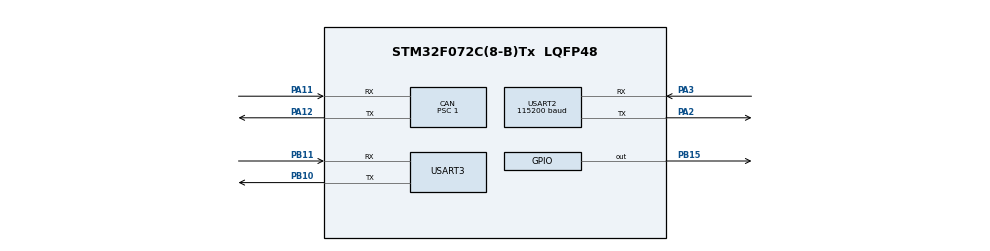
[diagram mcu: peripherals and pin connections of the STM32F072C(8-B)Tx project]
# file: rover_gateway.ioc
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CAN.BS1=CAN_BS1_13TQ
CAN.BS2=CAN_BS2_2TQ
CAN.CalculateBaudRate=500000
CAN.CalculateTimeBit=2000
CAN.CalculateTimeQuantum=125.0
CAN.Prescaler=1
Mcu.Family=STM32F0
Mcu.Name=STM32F072C(8-B)Tx
Mcu.Package=LQFP48
NVIC.CEC_CAN_IRQn=true\:0\:0\:false\:false\:true\:true\:true\:true
NVIC.USART2_IRQn=true\:0\:0\:false\:false\:true\:true\:true\:true
NVIC.USART3_4_IRQn=true\:0\:0\:false\:false\:true\:true\:true\:true
PA11.Mode=CAN_Activate
PA11.Signal=CAN_RX
PA12.Mode=CAN_Activate
PA12.Signal=CAN_TX
PA13.Mode=Serial_Wire
PA13.Signal=SYS_SWDIO
PA14.Mode=Serial_Wire
PA14.Signal=SYS_SWCLK
PA2.Mode=Asynchronous
PA2.Signal=USART2_TX
PA3.Mode=Asynchronous
PA3.Signal=USART2_RX
PB10.Mode=Asynchronous
PB10.Signal=USART3_TX
PB11.Mode=Asynchronous
PB11.Signal=USART3_RX
PB15.Signal=GPIO_Output
PF0-OSC_IN.Mode=HSE-External-Oscillator
PF0-OSC_IN.Signal=RCC_OSC_IN
PF1-OSC_OUT.Mode=HSE-External-Oscillator
PF1-OSC_OUT.Signal=RCC_OSC_OUT
ProjectManager.HeapSize=0x200
ProjectManager.StackSize=0x400
ProjectManager.TargetToolchain=CMake
USART2.BaudRate=115200
USART2.VirtualMode-Asynchronous=VM_ASYNC
USART3.VirtualMode-Asynchronous=VM_ASYNC
board=custom

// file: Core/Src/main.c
/* USER CODE BEGIN Header */
/**
  ******************************************************************************
  * @file           : main.c
  * @brief          : Main program body
  ******************************************************************************
  * @attention
  *
  * Copyright (c) 2025 STMicroelectronics.
  * All rights reserved.
  *
  * This software is licensed under terms that can be found in the LICENSE file
  * in the root directory of this software component.
  * If no LICENSE file comes with this software, it is provided AS-IS.
  *
  ******************************************************************************
  */
/* USER CODE END Header */
#include "main.h"

/* USER CODE BEGIN Includes */
#include <string.h>
/* USER CODE END Includes */

/* USER CODE BEGIN PTD */

// --- New UART Gateway Defines ---
const uint8_t UART_START_BYTE = 0xAA;
const uint8_t UART_END_BYTE = 0x55;
#define UART_BUFFER_SIZE 256 // Define the size of the receive buffer

// --- Circular Buffer Structure ---
typedef struct
{
    uint8_t buffer[UART_BUFFER_SIZE];
    volatile uint16_t head;
    volatile uint16_t tail;
} CircularBuffer;

// --- Original, Unchanged CAN Variables ---
volatile uint8_t messageReceived = 0;
CAN_RxHeaderTypeDef rxHeader;
uint8_t rxData[8];

// --- New UART Gateway Specific Typedefs ---
// A simple structure to hold a CAN message for UART framing
typedef struct
{
    uint16_t id;
    uint8_t dlc;
    uint8_t data[8];
} UART_CanMessage_t;

// State machine for receiving UART messages
typedef enum
{
    UART_STATE_WAITING_FOR_START,
    UART_STATE_READING_ID_HIGH,
    UART_STATE_READING_ID_LOW,
    UART_STATE_READING_DLC,
    UART_STATE_READING_DATA,
    UART_STATE_READING_CHECKSUM,
    UART_STATE_READING_END
} UART_State_t;
/* USER CODE END PTD */

CAN_HandleTypeDef hcan;

UART_HandleTypeDef huart2;
UART_HandleTypeDef huart3;

/* USER CODE BEGIN PV */
// --- UART Buffering ---
CircularBuffer uart2_to_uart3_buffer;
CircularBuffer uart3_to_uart2_buffer;
uint8_t uart2_rx_byte;
uint8_t uart3_rx_byte;

// --- New UART Gateway Specific Variables ---
UART_State_t uart_currentState = UART_STATE_WAITING_FOR_START;
UART_CanMessage_t uart_receivedMsg;

uint8_t uart_dataIndex = 0;
uint8_t uart_calculatedChecksum = 0;
uint8_t uart_receivedChecksum = 0;
/* USER CODE END PV */

void SystemClock_Config(void);
static void MX_GPIO_Init(void);
static void MX_CAN_Init(void);
static void MX_USART2_UART_Init(void);
static void MX_USART3_UART_Init(void);
/* USER CODE BEGIN PFP */
// --- Original, Unchanged CAN Function Prototypes ---
void can_irq(CAN_HandleTypeDef *pcan);
HAL_StatusTypeDef can_send(uint32_t id, uint8_t data[], uint8_t length);

// --- New UART Gateway Function Prototypes ---
void gateway_send_can_over_uart(uint32_t id, uint8_t* data, uint8_t dlc);
void gateway_process_uart_byte(uint8_t incomingByte);
/* USER CODE END PFP */

/* USER CODE BEGIN 0 */
// --- Circular Buffer Functions ---
void CB_Init(CircularBuffer *cb) {
    cb->head = 0;
    cb->tail = 0;
}

int CB_Write(CircularBuffer *cb, uint8_t data) {
    uint16_t next_head = (cb->head + 1) % UART_BUFFER_SIZE;
    if (next_head == cb->tail) {
        // Buffer is full
        return -1;
    }
    cb->buffer[cb->head] = data;
    cb->head = next_head;
    return 0;
}

int CB_Read(CircularBuffer *cb, uint8_t *data) {
    if (cb->head == cb->tail) {
        // Buffer is empty
        return -1;
    }
    *data = cb->buffer[cb->tail];
    cb->tail = (cb->tail + 1) % UART_BUFFER_SIZE;
    return 0;
}

// --- Original, Unchanged CAN Functions ---
void can_irq(CAN_HandleTypeDef *pcan) {
    /* Simply receive whatever message comes in */
    if (HAL_CAN_GetRxMessage(pcan, CAN_RX_FIFO0, &rxHeader, rxData) == HAL_OK) {
        messageReceived = 1;
    }
}

HAL_StatusTypeDef can_send(uint32_t id, uint8_t data[], uint8_t length) {
    CAN_TxHeaderTypeDef txHeader;
    uint32_t mailbox;

    /* Configure TX header */
    txHeader.StdId = id;
    txHeader.IDE = CAN_ID_STD;
    txHeader.RTR = CAN_RTR_DATA;
    txHeader.DLC = length;
    txHeader.TransmitGlobalTime = DISABLE;

    /* Check if mailbox is available and send */
    if (HAL_CAN_GetTxMailboxesFreeLevel(&hcan) > 0) {
        return HAL_CAN_AddTxMessage(&hcan, &txHeader, data, &mailbox);
    }
    return HAL_BUSY;
}

// --- New UART Gateway Functions ---

/**
 * @brief  Takes CAN data and sends it over UART with framing and checksum.
 * @param  id: The CAN message ID.
 * @param  data: Pointer to the CAN data payload.
 * @param  dlc: The data length code of the CAN message.
 * @retval None
 */
void gateway_send_can_over_uart(uint32_t id, uint8_t* data, uint8_t dlc)
{
    uint8_t tx_buffer[14]; // Max size: 1 start + 2 id + 1 dlc + 8 data + 1 checksum + 1 end
    int idx = 0;

    // Calculate the checksum
    uint8_t checksum = 0;
    checksum ^= (uint8_t)(id >> 8);
    checksum ^= (uint8_t)(id & 0xFF);
    checksum ^= dlc;
    for (int i = 0; i < dlc; ++i)
    {
        checksum ^= data[i];
    }

    // Populate the transmission buffer
    tx_buffer[idx++] = UART_START_BYTE;
    tx_buffer[idx++] = (uint8_t)(id >> 8);
    tx_buffer[idx++] = (uint8_t)(id & 0xFF);
    tx_buffer[idx++] = dlc;
    memcpy(&tx_buffer[idx], data, dlc);
    idx += dlc;
    tx_buffer[idx++] = checksum;
    tx_buffer[idx++] = UART_END_BYTE;

    // Transmit the message
    HAL_UART_Transmit(&huart2, tx_buffer, idx, 100);
}

/**
 * @brief  Processes a single byte received from UART using a state machine.
 * @param  incomingByte: The byte to process.
 * @note   This function is now called in a loop for each byte in the buffer.
 * When a full, valid message is parsed, it calls can_send().
 * @retval None
 */
void gateway_process_uart_byte(uint8_t incomingByte)
{
    switch (uart_currentState)
    {
        case UART_STATE_WAITING_FOR_START:
            if (incomingByte == UART_START_BYTE)
            {
                uart_currentState = UART_STATE_READING_ID_HIGH;
                uart_calculatedChecksum = 0;
                uart_dataIndex = 0;
                memset(&uart_receivedMsg, 0, sizeof(uart_receivedMsg));
            }
            break;

        case UART_STATE_READING_ID_HIGH:
            uart_receivedMsg.id = (uint16_t)incomingByte << 8;
            uart_calculatedChecksum ^= incomingByte;
            uart_currentState = UART_STATE_READING_ID_LOW;
            break;

        case UART_STATE_READING_ID_LOW:
            uart_receivedMsg.id |= incomingByte;
            uart_calculatedChecksum ^= incomingByte;
            uart_currentState = UART_STATE_READING_DLC;
            break;

        case UART_STATE_READING_DLC:
            if (incomingByte <= 8)
            {
                uart_receivedMsg.dlc = incomingByte;
                uart_calculatedChecksum ^= incomingByte;
                if (uart_receivedMsg.dlc == 0)
                {
                    uart_currentState = UART_STATE_READING_CHECKSUM;
                }
                else
                {
                    uart_currentState = UART_STATE_READING_DATA;
                }
            }
            else
            {
                // Invalid DLC, reset
                uart_currentState = UART_STATE_WAITING_FOR_START;
            }
            break;

        case UART_STATE_READING_DATA:
            uart_receivedMsg.data[uart_dataIndex] = incomingByte;
            uart_calculatedChecksum ^= incomingByte;
            uart_dataIndex++;
            if (uart_dataIndex >= uart_receivedMsg.dlc)
            {
                uart_currentState = UART_STATE_READING_CHECKSUM;
            }
            break;

        case UART_STATE_READING_CHECKSUM:
            uart_receivedChecksum = incomingByte;
            if (uart_receivedChecksum == uart_calculatedChecksum)
            {
                uart_currentState = UART_STATE_READING_END;
            }
            else
            {
                // Checksum mismatch, reset
                uart_currentState = UART_STATE_WAITING_FOR_START;
            }
            break;

        case UART_STATE_READING_END:
            if (incomingByte == UART_END_BYTE)
            {
                // Message successfully received and validated!
                can_send(uart_receivedMsg.id, uart_receivedMsg.data, uart_receivedMsg.dlc);
                HAL_GPIO_TogglePin(GPIOB, GPIO_PIN_15); // Toggle LED to indicate UART->CAN activity
            }
            // Reset state machine for the next message
            uart_currentState = UART_STATE_WAITING_FOR_START;
            break;
    }
}

/**
 * @brief  Rx Transfer completed callback.
 * @param  huart: UART handle
 * @retval None
 */
void HAL_UART_RxCpltCallback(UART_HandleTypeDef *huart)
{
    if (huart->Instance == USART2)
    {
        CB_Write(&uart2_to_uart3_buffer, uart2_rx_byte);
        HAL_UART_Receive_IT(&huart2, &uart2_rx_byte, 1);
    }
    else if (huart->Instance == USART3)
    {
        CB_Write(&uart3_to_uart2_buffer, uart3_rx_byte);
        HAL_UART_Receive_IT(&huart3, &uart3_rx_byte, 1);
    }
}
/* USER CODE END 0 */

int main(void)
{

  /* MCU Configuration--------------------------------------------------------*/

  /* Reset of all peripherals, Initializes the Flash interface and the Systick. */
  HAL_Init();

  /* Configure the system clock */
  SystemClock_Config();

  /* Initialize all configured peripherals */
  MX_GPIO_Init();
  MX_CAN_Init();
  MX_USART2_UART_Init();
  MX_USART3_UART_Init();
  /* USER CODE BEGIN 2 */
    /* USER CODE BEGIN 2 */
    HAL_GPIO_WritePin(GPIOB, GPIO_PIN_15, GPIO_PIN_RESET); // LED off

    // Initialize circular buffers
    CB_Init(&uart2_to_uart3_buffer);
    CB_Init(&uart3_to_uart2_buffer);

    // Start UART reception in interrupt mode
    HAL_UART_Receive_IT(&huart2, &uart2_rx_byte, 1);
    HAL_UART_Receive_IT(&huart3, &uart3_rx_byte, 1);
  /* USER CODE END 2 */
  /* USER CODE END 2 */

  /* Infinite loop */
    while (1)
    {

    /* USER CODE BEGIN 3 */
        /* If a CAN message was received (flag set in can_irq), process it. */
        if (messageReceived) {
            // 1. Forward the received CAN message over UART
            gateway_send_can_over_uart(rxHeader.StdId, rxData, rxHeader.DLC);

            // 2. Toggle LED to indicate CAN->UART activity
            HAL_GPIO_TogglePin(GPIOB, GPIO_PIN_15);

            // 3. Clear the flag (original behavior)
            messageReceived = 0;
        }

        // Process UART buffers
        uint8_t data;
        while (CB_Read(&uart2_to_uart3_buffer, &data) == 0) {
            HAL_UART_Transmit(&huart3, &data, 1, 100);
            gateway_process_uart_byte(data);
        }

        while (CB_Read(&uart3_to_uart2_buffer, &data) == 0) {
            HAL_UART_Transmit(&huart2, &data, 1, 100);
        }

        HAL_Delay(1);
    }
  /* USER CODE END 3 */
}

void SystemClock_Config(void)
{
  RCC_OscInitTypeDef RCC_OscInitStruct = {0};
  RCC_ClkInitTypeDef RCC_ClkInitStruct = {0};
  RCC_PeriphCLKInitTypeDef PeriphClkInit = {0};

  /** Initializes the RCC Oscillators according to the specified parameters
  * in the RCC_OscInitTypeDef structure.
  */
  RCC_OscInitStruct.OscillatorType = RCC_OSCILLATORTYPE_HSI;
  RCC_OscInitStruct.HSIState = RCC_HSI_ON;
  RCC_OscInitStruct.HSICalibrationValue = RCC_HSICALIBRATION_DEFAULT;
  RCC_OscInitStruct.PLL.PLLState = RCC_PLL_NONE;
  if (HAL_RCC_OscConfig(&RCC_OscInitStruct) != HAL_OK)
  {
    Error_Handler();
  }

  /** Initializes the CPU, AHB and APB buses clocks
  */
  RCC_ClkInitStruct.ClockType = RCC_CLOCKTYPE_HCLK|RCC_CLOCKTYPE_SYSCLK
                              |RCC_CLOCKTYPE_PCLK1;
  RCC_ClkInitStruct.SYSCLKSource = RCC_SYSCLKSOURCE_HSI;
  RCC_ClkInitStruct.AHBCLKDivider = RCC_SYSCLK_DIV1;
  RCC_ClkInitStruct.APB1CLKDivider = RCC_HCLK_DIV1;

  if (HAL_RCC_ClockConfig(&RCC_ClkInitStruct, FLASH_LATENCY_0) != HAL_OK)
  {
    Error_Handler();
  }
  PeriphClkInit.PeriphClockSelection = RCC_PERIPHCLK_USART2;
  PeriphClkInit.Usart2ClockSelection = RCC_USART2CLKSOURCE_PCLK1;
  if (HAL_RCCEx_PeriphCLKConfig(&PeriphClkInit) != HAL_OK)
  {
    Error_Handler();
  }
}

static void MX_CAN_Init(void)
{

  hcan.Instance = CAN;
  hcan.Init.Prescaler = 1;
  hcan.Init.Mode = CAN_MODE_NORMAL;
  hcan.Init.SyncJumpWidth = CAN_SJW_1TQ;
  hcan.Init.TimeSeg1 = CAN_BS1_13TQ;
  hcan.Init.TimeSeg2 = CAN_BS2_2TQ;
  hcan.Init.TimeTriggeredMode = DISABLE;
  hcan.Init.AutoBusOff = DISABLE;
  hcan.Init.AutoWakeUp = DISABLE;
  hcan.Init.AutoRetransmission = DISABLE;
  hcan.Init.ReceiveFifoLocked = DISABLE;
  hcan.Init.TransmitFifoPriority = DISABLE;
  if (HAL_CAN_Init(&hcan) != HAL_OK)
  {
    Error_Handler();
  }
  /* USER CODE BEGIN CAN_Init 2 */
    CAN_FilterTypeDef sf;
    sf.FilterMaskIdHigh = 0x0000;
    sf.FilterMaskIdLow = 0x0000;
    sf.FilterFIFOAssignment = CAN_FILTER_FIFO0;
    sf.FilterBank = 0;
    sf.FilterMode = CAN_FILTERMODE_IDMASK;
    sf.FilterScale = CAN_FILTERSCALE_32BIT;
    sf.FilterActivation = CAN_FILTER_ENABLE;
    if (HAL_CAN_ConfigFilter(&hcan, &sf) != HAL_OK) { Error_Handler(); }

    if (HAL_CAN_RegisterCallback(&hcan, HAL_CAN_RX_FIFO0_MSG_PENDING_CB_ID, can_irq) != HAL_OK) { Error_Handler(); }

    if (HAL_CAN_Start(&hcan) != HAL_OK) { Error_Handler(); }

    if (HAL_CAN_ActivateNotification(&hcan, CAN_IT_RX_FIFO0_MSG_PENDING) != HAL_OK) { Error_Handler(); }

    /* Enable interrupts for CAN: FIFO0 message pending, transmit mailbox empty, error */
    __HAL_CAN_ENABLE_IT(&hcan,
                        CAN_IT_RX_FIFO0_MSG_PENDING | // RX FIFO0 message
                        CAN_IT_TX_MAILBOX_EMPTY     | // Transmit mailbox empty
                        CAN_IT_ERROR_WARNING        | // Error warning
                        CAN_IT_ERROR_PASSIVE        | // Error passive
                        CAN_IT_BUSOFF               | // Bus-off
                        CAN_IT_LAST_ERROR_CODE      | // Last error code
                        CAN_IT_ERROR                ); // General error

    /* Configure NVIC for CAN interrupts */
    HAL_NVIC_SetPriority(CEC_CAN_IRQn, 0, 0);
    HAL_NVIC_EnableIRQ(CEC_CAN_IRQn);
  /* USER CODE END CAN_Init 2 */

}

static void MX_USART2_UART_Init(void)
{

  huart2.Instance = USART2;
  huart2.Init.BaudRate = 115200;
  huart2.Init.WordLength = UART_WORDLENGTH_8B;
  huart2.Init.StopBits = UART_STOPBITS_1;
  huart2.Init.Parity = UART_PARITY_NONE;
  huart2.Init.Mode = UART_MODE_TX_RX;
  huart2.Init.HwFlowCtl = UART_HWCONTROL_NONE;
  huart2.Init.OverSampling = UART_OVERSAMPLING_16;
  huart2.Init.OneBitSampling = UART_ONE_BIT_SAMPLE_DISABLE;
  huart2.AdvancedInit.AdvFeatureInit = UART_ADVFEATURE_NO_INIT;
  if (HAL_UART_Init(&huart2) != HAL_OK)
  {
    Error_Handler();
  }

}

static void MX_USART3_UART_Init(void)
{

  huart3.Instance = USART3;
  huart3.Init.BaudRate = 38400;
  huart3.Init.WordLength = UART_WORDLENGTH_8B;
  huart3.Init.StopBits = UART_STOPBITS_1;
  huart3.Init.Parity = UART_PARITY_NONE;
  huart3.Init.Mode = UART_MODE_TX_RX;
  huart3.Init.HwFlowCtl = UART_HWCONTROL_NONE;
  huart3.Init.OverSampling = UART_OVERSAMPLING_16;
  huart3.Init.OneBitSampling = UART_ONE_BIT_SAMPLE_DISABLE;
  huart3.AdvancedInit.AdvFeatureInit = UART_ADVFEATURE_NO_INIT;
  if (HAL_UART_Init(&huart3) != HAL_OK)
  {
    Error_Handler();
  }

}

static void MX_GPIO_Init(void)
{
  GPIO_InitTypeDef GPIO_InitStruct = {0};

  /* GPIO Ports Clock Enable */
  __HAL_RCC_GPIOF_CLK_ENABLE();
  __HAL_RCC_GPIOA_CLK_ENABLE();
  __HAL_RCC_GPIOB_CLK_ENABLE();

  /*Configure GPIO pin Output Level */
  HAL_GPIO_WritePin(GPIOB, GPIO_PIN_15, GPIO_PIN_RESET);

  /*Configure GPIO pin : PB15 */
  GPIO_InitStruct.Pin = GPIO_PIN_15;
  GPIO_InitStruct.Mode = GPIO_MODE_OUTPUT_PP;
  GPIO_InitStruct.Pull = GPIO_NOPULL;
  GPIO_InitStruct.Speed = GPIO_SPEED_FREQ_LOW;
  HAL_GPIO_Init(GPIOB, &GPIO_InitStruct);

}

void Error_Handler(void)
{
    __disable_irq();
    while (1)
    {
    }
}
